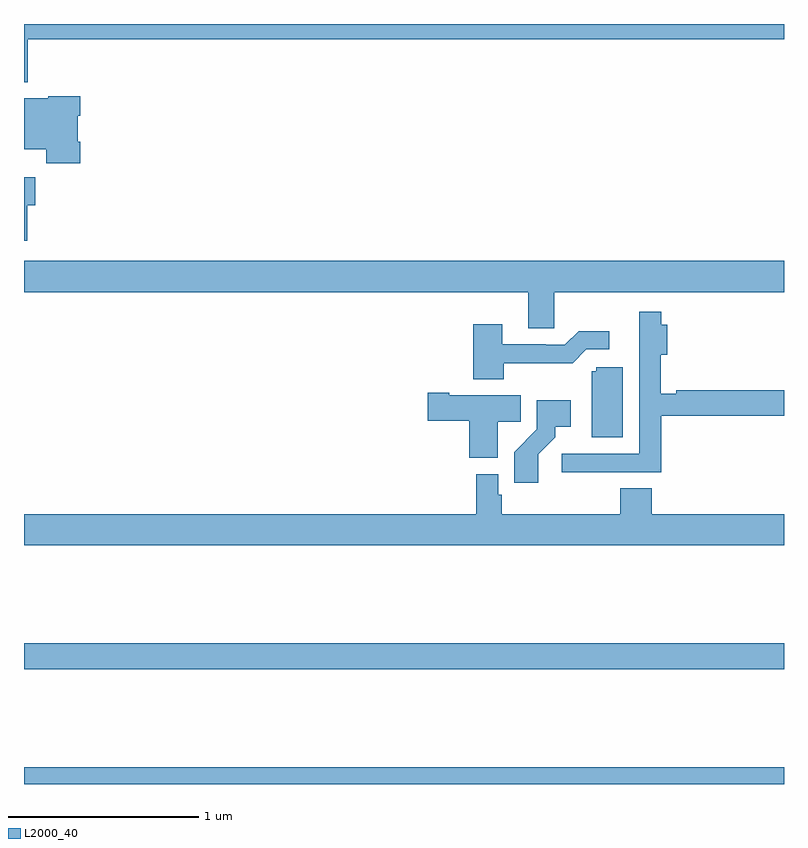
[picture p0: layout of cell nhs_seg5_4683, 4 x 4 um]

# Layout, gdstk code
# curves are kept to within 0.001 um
import gdstk
lib = gdstk.Library(unit=1e-6, precision=1e-09)
def R(c, l, rs):  # rectangles x0, y0, x1, y1
    for r in rs: c.add(gdstk.rectangle(r[:2], r[2:], *l))
def P(c, l, *ps):  # polygons
    for p in ps: c.add(gdstk.Polygon(p, *l))
L2000_40 = (2000, 40)

nhs_seg5_4683 = lib.new_cell('nhs_seg5_4683')
R(nhs_seg5_4683, L2000_40, [(385,892.799,389,892.888), (385,893.404,389,893.54)])
P(nhs_seg5_4683, L2000_40, [(385.019,896.72),(389,896.72),(389,896.799),(385,896.799),(385,896.492),(385.019,896.492)],
  [(385.295,896.179),(385.282,896.179),(385.282,896.315),(385.295,896.315),(385.295,896.419),(385.128,896.419),(385.128,896.407),(385,896.407),(385,896.141),(385.117,896.141),(385.117,896.067),(385.295,896.067)],
  [(385.016,895.846),(385.06,895.846),(385.06,895.993),(385,895.993),(385,895.659),(385.016,895.659)],
  [(387.792,895.388),(389,895.388),(389,895.552),(385,895.552),(385,895.388),(387.653,895.388),(387.653,895.198),(387.792,895.198)],
  [(388.055,894.441),(388.355,894.441),(388.355,894.736),(389,894.736),(389,894.872),(388.432,894.872),(388.432,894.854),(388.351,894.854),(388.351,895.058),(388.385,895.058),(388.385,895.216),(388.355,895.216),(388.355,895.285),(388.238,895.285),(388.238,895.062),(388.239,895.062),(388.239,894.537),(387.831,894.537),(387.831,894.439),(388.055,894.439)],
  [(387.525,895.014),(387.887,895.013),(387.96,895.086),(388.081,895.086),(388.081,895.183),(387.919,895.183),(387.846,895.11),(387.746,895.11),(387.746,895.113),(387.517,895.113),(387.517,895.219),(387.365,895.219),(387.365,894.929),(387.525,894.929)],
  [(388.15,894.993),(388.011,894.993),(388.011,894.972),(387.989,894.972),(387.989,894.624),(388.15,894.624)],
  [(387.493,894.706),(387.614,894.706),(387.614,894.844),(387.238,894.844),(387.238,894.857),(387.126,894.857),(387.126,894.71),(387.344,894.71),(387.344,894.515),(387.493,894.515)],
  [(387.706,894.535),(387.796,894.625),(387.796,894.68),(387.877,894.68),(387.877,894.82),(387.699,894.82),(387.699,894.665),(387.58,894.546),(387.58,894.384),(387.706,894.384)],
  [(389,894.22),(388.304,894.22),(388.304,894.356),(388.139,894.356),(388.139,894.22),(387.515,894.22),(387.515,894.321),(387.495,894.321),(387.495,894.43),(387.379,894.43),(387.379,894.22),(385,894.22),(385,894.056),(389,894.056)])

lib.write_gds('nhs_seg5_4683.gds')
